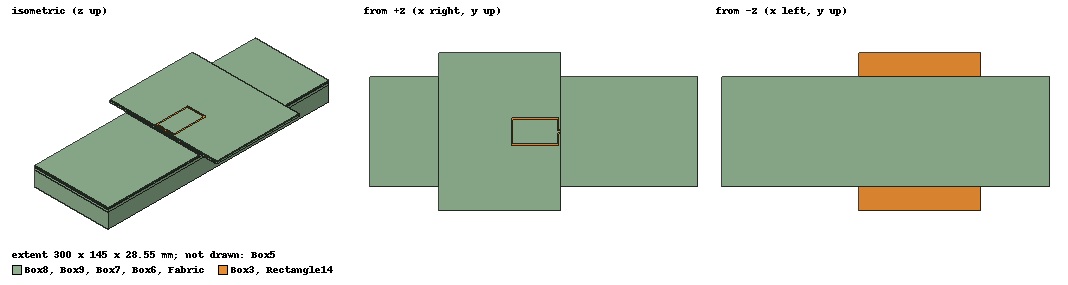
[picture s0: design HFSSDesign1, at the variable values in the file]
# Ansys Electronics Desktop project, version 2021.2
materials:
  vacuum: permittivity=1
  fabric: permittivity=1.6
  copper: permeability=0.999991 conductivity=58000000
  silver: permeability=0.99998 conductivity=61000000
  Skin: permittivity=38.007 conductivity=1.464 dielectric_loss_tangent=0.283
  fat: permittivity=5.28 conductivity=0.105 dielectric_loss_tangent=0.145
  Muscle: permittivity=52.729 conductivity=1.739 dielectric_loss_tangent=0.242

design HFSSDesign1 (HFSS, DrivenModal, model units mm)
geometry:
  Fabric [fabric] = box(corner=(-112mm, -72.5mm, 0mm), size=(112mm, 145mm, 0.503mm))
  Loop = box(corner=(-45.5mm, -12.55mm, 0.503mm), size=(43.5mm, 25.1mm, 0.05mm))
  Box1 = box(corner=(-44mm, -11.05mm, 0.503mm), size=(40.5mm, 22.1mm, 0.05mm))
  Loop.subtract(Box1)
  Box2 = box(corner=(-4mm, -0.5mm, 0.503mm), size=(2mm, 1mm, 0.05mm))
  Loop.subtract(Box2)
  Box3 [copper] = box(corner=(-2mm, -2mm, 0.503mm), size=(2mm, 1.5mm, 0.05mm))
  Box4 = box(corner=(-2mm, 0.5mm, 0.503mm), size=(2mm, 1.5mm, 0.05mm))
  Box3.unite(Box4, Loop)
  Rectangle1 = rectangle(corner=(0mm, -0.5mm, 0.553mm), y_size=1mm, z_size=-0.05mm)
  Box5 [vacuum] = box(corner=(-250mm, -125mm, -105mm), size=(450mm, 250mm, 180mm))
  Box6 [fabric] = box(corner=(-112mm, -72.5mm, -2.5mm), size=(112mm, 145mm, 2.5mm))
  Rectangle2 = rectangle(corner=(-110mm, -71mm, 0mm), x_size=34mm, y_size=34mm)
  Rectangle3 = rectangle(corner=(-74mm, -35mm, 0mm), x_size=34mm, y_size=34mm)
  Rectangle4 = rectangle(corner=(-110mm, -35mm, 0mm), x_size=34mm, y_size=34mm)
  Rectangle5 = rectangle(corner=(-110mm, 1mm, 0mm), x_size=34mm, y_size=34mm)
  Rectangle6 = rectangle(corner=(-110mm, 37mm, 0mm), x_size=34mm, y_size=34mm)
  Rectangle7 = rectangle(corner=(-74mm, -71mm, 0mm), x_size=34mm, y_size=34mm)
  Rectangle8 = rectangle(corner=(-74mm, 1mm, 0mm), x_size=34mm, y_size=34mm)
  Rectangle9 = rectangle(corner=(-74mm, 37mm, 0mm), x_size=34mm, y_size=34mm)
  Rectangle10 = rectangle(corner=(-38mm, -71mm, 0mm), x_size=34mm, y_size=34mm)
  Rectangle11 = rectangle(corner=(-38mm, -35mm, 0mm), x_size=34mm, y_size=34mm)
  Rectangle12 = rectangle(corner=(-38mm, 1mm, 0mm), x_size=34mm, y_size=34mm)
  Rectangle13 = rectangle(corner=(-38mm, 37mm, 0mm), x_size=34mm, y_size=34mm)
  Rectangle14 = rectangle(corner=(-112mm, -72.5mm, -2.5mm), x_size=112mm, y_size=145mm)
  Box7 [Skin] = box(corner=(-175mm, -50mm, -5mm), size=(300mm, 100mm, 2mm))
  Box8 [Muscle] = box(corner=(-175mm, -50mm, -28mm), size=(300mm, 100mm, 20mm))
  Box9 [fat] = box(corner=(-175mm, -50mm, -8mm), size=(300mm, 100mm, 3mm))
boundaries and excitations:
  Rad1: Radiation Objects=Box5
  PerfE1: Perfect E Objects=[Rectangle2..Rectangle14]
  1: Lumped Port Objects=Rectangle1 Modes{Mode1{IntLine{middle of Rectangle1.edge(y at corner) -> middle of Rectangle1.edge(y opposite corner)} CharImp=Zpi RenormImp=50ohm}} Impedance=50ohm
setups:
  Setup1: HfssDriven Frequency=2.45GHz MaxDeltaS=0.02 MaximumPasses=6 MinimumPasses=1 MinimumConvergedPasses=1 PercentRefinement=30 BasisOrder=1 PortAccuracy=2
    sweep Sweep: 1.5GHz to 3.5GHz, 401 points; Type=Fast SaveFields
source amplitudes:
  1:1: 1W 0deg
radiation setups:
  Infinite Sphere1: Infinite Sphere Theta=0deg..360deg step 1deg Phi=0deg..360deg step 1deg
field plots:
  Mag_Jsurf1: Jsurf over Rectangle13.face on Setup1 : Sweep at Freq=2.45GHz Phase=0deg
  Mag_Jsurf2: Jsurf over Rectangle2.face on Setup1 : Sweep at Freq=2.45GHz Phase=0deg
  Mag_Jsurf3: Jsurf over Rectangle3.face on Setup1 : Sweep at Freq=2.45GHz Phase=0deg
  Mag_Jsurf4: Jsurf over Rectangle4.face on Setup1 : Sweep at Freq=2.45GHz Phase=0deg
  Mag_Jsurf5: Jsurf over Rectangle2.face Rectangle3.face Rectangle4.face Rectangle5.face Rectangle6.face Rectangle7.face Rectangle8.face Rectangle9.face Rectangle10.face Rectangle11.face Rectangle12.face Rectangle13.face on Setup1 : LastAdaptive at Freq=2.45GHz Phase=0deg
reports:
  S Parameter Plot 1: dB(S(1,1)) vs Freq on Setup1 : Sweep; markers m1 at 2.45GHz, m2 at 2.38GHz
